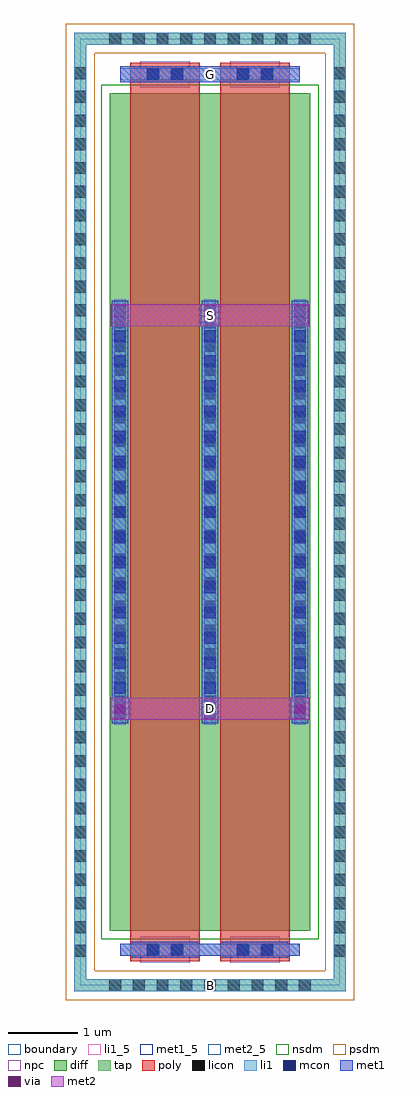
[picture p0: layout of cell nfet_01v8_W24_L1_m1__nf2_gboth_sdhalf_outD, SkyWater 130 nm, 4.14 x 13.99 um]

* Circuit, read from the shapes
.subckt nfet_01v8_W24_L1_m1__nf2_gboth_sdhalf_outD B D G S
XM1 S G D B sky130_fd_pr__nfet_01v8 w=12 l=1 m=2
.ends

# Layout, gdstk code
import gdstk
lib = gdstk.Library(unit=1e-6, precision=1e-09)
def R(c, l, rs):  # rectangles x0, y0, x1, y1
    for r in rs: c.add(gdstk.rectangle(r[:2], r[2:], *l))
def A(c, l, x, y, w, h, nx, ny, dx, dy):  # array of equal rectangles
    R(c, l, [(x+i*dx, y+j*dy, x+i*dx+w, y+j*dy+h) for i in range(nx) for j in range(ny)])
diff = (65, 20)
tap = (65, 44)
poly = (66, 20)
licon = (66, 44)
li1_5 = (67, 5)
li1 = (67, 20)
mcon = (67, 44)
met1_5 = (68, 5)
met1 = (68, 20)
via = (68, 44)
met2_5 = (69, 5)
met2 = (69, 20)
nsdm = (93, 44)
psdm = (94, 20)
npc = (95, 20)
boundary = (235, 4)

sky130_fd_pr__nfet_01v8_ = lib.new_cell('sky130_fd_pr__nfet_01v8_6SSFM6')
R(sky130_fd_pr__nfet_01v8_, diff, [(-1.435,-6,1.435,6)])
R(sky130_fd_pr__nfet_01v8_, tap, [(-1.945,-6.87,1.945,-6.7), (-1.945,-6.7,-1.775,6.7), (1.775,-6.7,1.945,6.7), (-1.945,6.7,1.945,6.87)])
R(sky130_fd_pr__nfet_01v8_, poly, [(-1.145,-6.44,-0.145,6.44), (0.145,-6.44,1.145,6.44)])
A(sky130_fd_pr__nfet_01v8_, licon, -1.445, -6.87, 0.17, 0.17, 9, 2, 0.34, 13.57)
A(sky130_fd_pr__nfet_01v8_, licon, -1.945, -6.375, 0.17, 0.17, 1, 38, 0, 0.34)
A(sky130_fd_pr__nfet_01v8_, licon, 1.775, -6.375, 0.17, 0.17, 1, 38, 0, 0.34)
A(sky130_fd_pr__nfet_01v8_, licon, -1.375, -2.805, 0.17, 0.17, 3, 17, 1.29, 0.34)
R(sky130_fd_pr__nfet_01v8_, licon, [(-0.9,-6.36,-0.73,-6.19), (-0.56,-6.36,-0.39,-6.19), (0.39,-6.36,0.56,-6.19), (0.73,-6.36,0.9,-6.19), (-0.9,6.19,-0.73,6.36), (-0.56,6.19,-0.39,6.36), (0.39,6.19,0.56,6.36), (0.73,6.19,0.9,6.36)])
A(sky130_fd_pr__nfet_01v8_, li1, -1.375, -3.05, 0.17, 6.1, 3, 1, 1.29, 0)
R(sky130_fd_pr__nfet_01v8_, li1, [(-1.945,-6.87,1.945,-6.7), (-1.945,-6.7,-1.775,6.7), (1.775,-6.7,1.945,6.7), (-1.29,-6.36,1.29,-6.19), (-1.29,6.19,1.29,6.36), (-1.945,6.7,1.945,6.87)])
A(sky130_fd_pr__nfet_01v8_, mcon, -1.375, -2.965, 0.17, 0.17, 3, 17, 1.29, 0.36)
R(sky130_fd_pr__nfet_01v8_, mcon, [(-0.91,-6.36,-0.74,-6.19), (-0.55,-6.36,-0.38,-6.19), (0.38,-6.36,0.55,-6.19), (0.74,-6.36,0.91,-6.19), (-0.91,6.19,-0.74,6.36), (-0.55,6.19,-0.38,6.36), (0.38,6.19,0.55,6.36), (0.74,6.19,0.91,6.36)])
A(sky130_fd_pr__nfet_01v8_, met1, -1.405, -3.03, 0.23, 6.06, 3, 1, 1.29, 0)
R(sky130_fd_pr__nfet_01v8_, met1, [(-1.125,-6.39,-0.165,-6.36), (0.165,-6.39,1.125,-6.36), (-1.29,-6.36,1.29,-6.19), (-1.125,-6.19,-0.165,-6.16), (0.165,-6.19,1.125,-6.16), (-1.125,6.16,-0.165,6.19), (0.165,6.16,1.125,6.19), (-1.29,6.19,1.29,6.36), (-1.125,6.36,-0.165,6.39), (0.165,6.36,1.125,6.39)])
R(sky130_fd_pr__nfet_01v8_, nsdm, [(-1.56,-6.125,1.56,6.125)])
R(sky130_fd_pr__nfet_01v8_, psdm, [(-2.07,-6.995,2.07,-6.575), (-2.07,-6.575,-1.65,6.575), (1.65,-6.575,2.07,6.575), (-2.07,6.575,2.07,6.995)])
R(sky130_fd_pr__nfet_01v8_, npc, [(-1,-6.46,-0.29,-6.09), (0.29,-6.46,1,-6.09), (-1,6.09,-0.29,6.46), (0.29,6.09,1,6.46)])
R(sky130_fd_pr__nfet_01v8_, boundary, [(-1.86,-6.785,1.86,6.785)])
sky130_fd_pr__nfet_01v8_.add(gdstk.Label('B', (0,-6.785), layer=67, texttype=5))
sky130_fd_pr__nfet_01v8_.add(gdstk.Label('D0', (-1.29,0), layer=67, texttype=5))
sky130_fd_pr__nfet_01v8_.add(gdstk.Label('G', (0.645,6.275), layer=67, texttype=5))
sky130_fd_pr__nfet_01v8_.add(gdstk.Label('G', (-0.645,6.275), layer=67, texttype=5))
sky130_fd_pr__nfet_01v8_.add(gdstk.Label('S1', (0,0), layer=67, texttype=5))

nfet_01v8_w24_l1_m1__nf2 = lib.new_cell('nfet_01v8_W24_L1_m1__nf2_gboth_sdhalf_outD')
R(nfet_01v8_w24_l1_m1__nf2, li1_5, [(1.775,-0.085,1.945,0.085)])
R(nfet_01v8_w24_l1_m1__nf2, li1, [(1.775,-0.085,1.945,0.085)])
R(nfet_01v8_w24_l1_m1__nf2, met1_5, [(0.57,12.945,3.15,13.175)])
R(nfet_01v8_w24_l1_m1__nf2, met1, [(0.44,3.805,0.7,4.125), (3.02,3.805,3.28,4.125), (1.73,9.445,1.99,9.765), (0.57,12.945,3.15,13.175)])
R(nfet_01v8_w24_l1_m1__nf2, via, [(0.495,3.89,0.645,4.04), (3.075,3.89,3.225,4.04), (1.785,9.53,1.935,9.68)])
R(nfet_01v8_w24_l1_m1__nf2, met2_5, [(0.435,3.805,3.285,4.125), (0.435,9.445,3.285,9.765)])
R(nfet_01v8_w24_l1_m1__nf2, met2, [(0.435,3.805,3.285,4.125), (0.435,9.445,3.285,9.765)])
nfet_01v8_w24_l1_m1__nf2.add(gdstk.Reference(sky130_fd_pr__nfet_01v8_, (1.86,6.785)))
nfet_01v8_w24_l1_m1__nf2.add(gdstk.Label('S', (1.86,9.605), layer=69, texttype=5))
nfet_01v8_w24_l1_m1__nf2.add(gdstk.Label('D', (1.86,3.965), layer=69, texttype=5))
nfet_01v8_w24_l1_m1__nf2.add(gdstk.Label('G', (1.86,13.06), layer=68, texttype=5))
nfet_01v8_w24_l1_m1__nf2.add(gdstk.Label('B', (1.86,0), layer=67, texttype=5))

lib.write_gds('nfet_01v8_W24_L1_m1__nf2_gboth_sdhalf_outD.gds')
